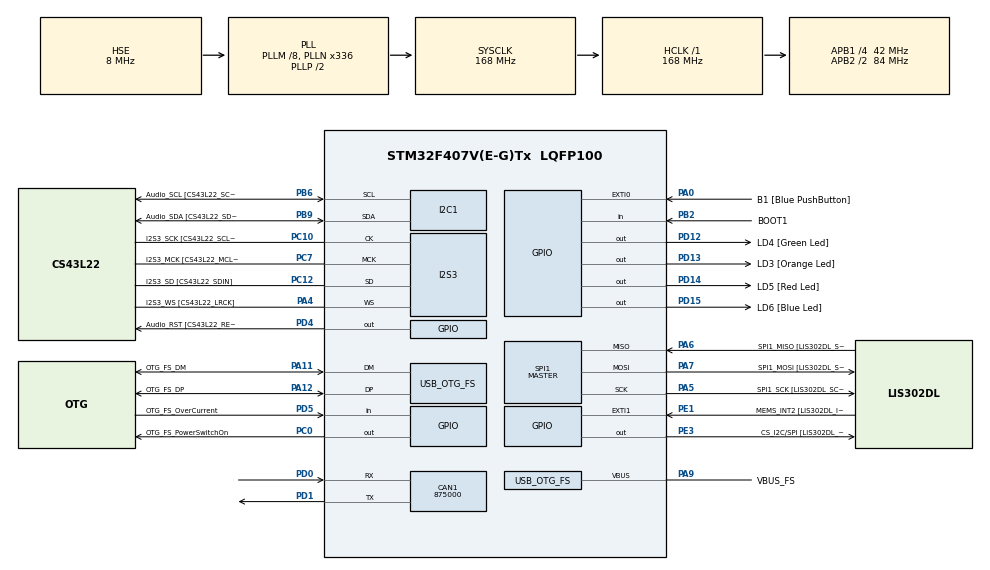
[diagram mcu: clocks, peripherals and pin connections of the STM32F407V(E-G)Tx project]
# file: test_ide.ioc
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CAN1.CalculateBaudRate=875000
CAN1.CalculateTimeBit=1142
CAN1.CalculateTimeQuantum=380.95238095238096
FREERTOS.INCLUDE_vTaskDelayUntil=1
FREERTOS.Queues01=myQueue01,16,uint16_t,0,Dynamic,NULL,NULL
FREERTOS.Tasks01=defaultTask,0,128,StartDefaultTask,Default,NULL,Dynamic,NULL,NULL;testTask,0,128,StartTask02,Default,NULL,Dynamic,NULL,NULL
FREERTOS.configMAX_PRIORITIES=20
FREERTOS.configUSE_NEWLIB_REENTRANT=1
I2S3.AudioFreq-Half_Duplex_Master=I2S_AUDIOFREQ_96K
I2S3.ErrorAudioFreq=-2.34 %
I2S3.ErrorAudioFreq-Half_Duplex_Master=0.8 %
I2S3.FullDuplexMode=I2S_FULLDUPLEXMODE_DISABLE
I2S3.Instance=SPI$Index
I2S3.RealAudioFreq=93.75 KHz
I2S3.RealAudioFreq-Half_Duplex_Master=96.774 KHz
I2S3.VirtualMode=I2S_MODE_MASTER
Mcu.Family=STM32F4
Mcu.Name=STM32F407V(E-G)Tx
Mcu.Package=LQFP100
NVIC.CAN1_RX0_IRQn=true\:5\:0\:false\:false\:true\:true\:true\:true\:true
NVIC.CAN1_RX1_IRQn=true\:5\:0\:false\:false\:true\:true\:true\:true\:true
NVIC.CAN1_SCE_IRQn=true\:5\:0\:false\:false\:true\:true\:true\:true\:true
NVIC.CAN1_TX_IRQn=true\:5\:0\:false\:false\:true\:true\:true\:true\:true
NVIC.OTG_FS_IRQn=true\:5\:0\:false\:false\:true\:true\:true\:true\:true
NVIC.PriorityGroup=NVIC_PRIORITYGROUP_4
NVIC.TIM1_UP_TIM10_IRQn=true\:15\:0\:false\:false\:true\:false\:false\:true\:true
NVIC.TimeBase=TIM1_UP_TIM10_IRQn
NVIC.TimeBaseIP=TIM1
PA0-WKUP.GPIO_Label=B1 [Blue PushButton]
PA0-WKUP.GPIO_ModeDefaultEXTI=GPIO_MODE_EVT_RISING
PA0-WKUP.GPIO_PuPd=GPIO_NOPULL
PA0-WKUP.Signal=GPXTI0
PA10.GPIO_Label=OTG_FS_ID
PA10.GPIO_Mode=GPIO_MODE_AF_PP
PA10.GPIO_PuPd=GPIO_NOPULL
PA10.GPIO_Speed=GPIO_SPEED_FREQ_LOW
PA10.Signal=USB_OTG_FS_ID
PA11.GPIO_Label=OTG_FS_DM
PA11.GPIO_Mode=GPIO_MODE_AF_PP
PA11.GPIO_PuPd=GPIO_NOPULL
PA11.GPIO_Speed=GPIO_SPEED_FREQ_LOW
PA11.Mode=Host_Only
PA11.Signal=USB_OTG_FS_DM
PA12.GPIO_Label=OTG_FS_DP
PA12.GPIO_Mode=GPIO_MODE_AF_PP
PA12.GPIO_PuPd=GPIO_NOPULL
PA12.GPIO_Speed=GPIO_SPEED_FREQ_LOW
PA12.Mode=Host_Only
PA12.Signal=USB_OTG_FS_DP
PA13.GPIO_Label=SWDIO
PA13.Mode=Serial_Wire
PA13.Signal=SYS_JTMS-SWDIO
PA14.GPIO_Label=SWCLK
PA14.Mode=Serial_Wire
PA14.Signal=SYS_JTCK-SWCLK
PA4.GPIO_Label=I2S3_WS [CS43L22_LRCK]
PA4.GPIO_Mode=GPIO_MODE_AF_PP
PA4.GPIO_PuPd=GPIO_NOPULL
PA4.GPIO_Speed=GPIO_SPEED_FREQ_LOW
PA4.Mode=Half_Duplex_Master
PA4.Signal=I2S3_WS
PA5.GPIO_Label=SPI1_SCK [LIS302DL_SCL/SPC]
PA5.GPIO_Mode=GPIO_MODE_AF_PP
PA5.GPIO_PuPd=GPIO_NOPULL
PA5.GPIO_Speed=GPIO_SPEED_FREQ_LOW
PA5.Mode=Full_Duplex_Master
PA5.Signal=SPI1_SCK
PA6.GPIO_Label=SPI1_MISO [LIS302DL_SDO]
PA6.GPIO_Mode=GPIO_MODE_AF_PP
PA6.GPIO_PuPd=GPIO_NOPULL
PA6.GPIO_Speed=GPIO_SPEED_FREQ_LOW
PA6.Mode=Full_Duplex_Master
PA6.Signal=SPI1_MISO
PA7.GPIO_Label=SPI1_MOSI [LIS302DL_SDA/SDI/SDO]
PA7.GPIO_Mode=GPIO_MODE_AF_PP
PA7.GPIO_PuPd=GPIO_NOPULL
PA7.GPIO_Speed=GPIO_SPEED_FREQ_LOW
PA7.Mode=Full_Duplex_Master
PA7.Signal=SPI1_MOSI
PA9.GPIO_Label=VBUS_FS
PA9.GPIO_Mode=GPIO_MODE_INPUT
PA9.GPIO_PuPd=GPIO_NOPULL
PA9.Mode=Activate_VBUS
PA9.Signal=USB_OTG_FS_VBUS
PB10.GPIO_Label=CLK_IN [MP45DT02_CLK]
PB10.GPIO_Mode=GPIO_MODE_AF_PP
PB10.GPIO_PuPd=GPIO_NOPULL
PB10.GPIO_Speed=GPIO_SPEED_FREQ_LOW
PB10.Signal=I2S2_CK
PB2.GPIO_Label=BOOT1
PB2.GPIO_Mode=GPIO_MODE_INPUT
PB2.GPIO_PuPd=GPIO_NOPULL
PB2.Signal=GPIO_Input
PB3.GPIO_Label=SWO
PB3.Signal=SYS_JTDO-SWO
PB6.GPIO_Label=Audio_SCL [CS43L22_SCL]
PB6.GPIO_Mode=GPIO_MODE_AF_OD
PB6.GPIO_Pu=GPIO_PULLUP
PB6.GPIO_PuPd=GPIO_NOPULL
PB6.GPIO_Speed=GPIO_SPEED_FREQ_LOW
PB6.Mode=I2C
PB6.Signal=I2C1_SCL
PB9.GPIO_Label=Audio_SDA [CS43L22_SDA]
PB9.GPIO_Mode=GPIO_MODE_AF_OD
PB9.GPIO_Pu=GPIO_PULLUP
PB9.GPIO_PuPd=GPIO_NOPULL
PB9.GPIO_Speed=GPIO_SPEED_FREQ_LOW
PB9.Mode=I2C
PB9.Signal=I2C1_SDA
PC0.GPIO_Label=OTG_FS_PowerSwitchOn
PC0.GPIO_PuPd=GPIO_NOPULL
PC0.GPIO_Speed=GPIO_SPEED_FREQ_LOW
PC0.PinState=GPIO_PIN_SET
PC0.Signal=GPIO_Output
PC10.GPIO_Label=I2S3_SCK [CS43L22_SCLK]
PC10.GPIO_Mode=GPIO_MODE_AF_PP
PC10.GPIO_PuPd=GPIO_NOPULL
PC10.GPIO_Speed=GPIO_SPEED_FREQ_LOW
PC10.Mode=Half_Duplex_Master
PC10.Signal=I2S3_CK
PC12.GPIO_Label=I2S3_SD [CS43L22_SDIN]
PC12.GPIO_Mode=GPIO_MODE_AF_PP
PC12.GPIO_PuPd=GPIO_NOPULL
PC12.GPIO_Speed=GPIO_SPEED_FREQ_LOW
PC12.Mode=Half_Duplex_Master
PC12.Signal=I2S3_SD
PC14-OSC32_IN.GPIO_Label=PC14-OSC32_IN
PC14-OSC32_IN.Mode=LSE-External-Oscillator
PC14-OSC32_IN.Signal=RCC_OSC32_IN
PC15-OSC32_OUT.GPIO_Label=PC15-OSC32_OUT
PC15-OSC32_OUT.Mode=LSE-External-Oscillator
PC15-OSC32_OUT.Signal=RCC_OSC32_OUT
PC3.GPIO_Label=PDM_OUT [MP45DT02_DOUT]
PC3.GPIO_Mode=GPIO_MODE_AF_PP
PC3.GPIO_PuPd=GPIO_NOPULL
PC3.GPIO_Speed=GPIO_SPEED_FREQ_LOW
PC3.Signal=I2S2_SD
PC7.GPIO_Label=I2S3_MCK [CS43L22_MCLK]
PC7.GPIO_Mode=GPIO_MODE_AF_PP
PC7.GPIO_PuPd=GPIO_NOPULL
PC7.GPIO_Speed=GPIO_SPEED_FREQ_LOW
PC7.Mode=Master_Clock_Activated
PC7.Signal=I2S3_MCK
PD0.Mode=CAN_Activate
PD0.Signal=CAN1_RX
PD1.Mode=CAN_Activate
PD1.Signal=CAN1_TX
PD12.GPIO_Label=LD4 [Green Led]
PD12.GPIO_PuPd=GPIO_NOPULL
PD12.GPIO_Speed=GPIO_SPEED_FREQ_LOW
PD12.Signal=GPIO_Output
PD13.GPIO_Label=LD3 [Orange Led]
PD13.GPIO_PuPd=GPIO_NOPULL
PD13.GPIO_Speed=GPIO_SPEED_FREQ_LOW
PD13.Signal=GPIO_Output
PD14.GPIO_Label=LD5 [Red Led]
PD14.GPIO_PuPd=GPIO_NOPULL
PD14.GPIO_Speed=GPIO_SPEED_FREQ_LOW
PD14.Signal=GPIO_Output
PD15.GPIO_Label=LD6 [Blue Led]
PD15.GPIO_PuPd=GPIO_NOPULL
PD15.GPIO_Speed=GPIO_SPEED_FREQ_LOW
PD15.Signal=GPIO_Output
PD4.GPIO_Label=Audio_RST [CS43L22_RESET]
PD4.GPIO_PuPd=GPIO_NOPULL
PD4.GPIO_Speed=GPIO_SPEED_FREQ_LOW
PD4.Signal=GPIO_Output
PD5.GPIO_Label=OTG_FS_OverCurrent
PD5.GPIO_Mode=GPIO_MODE_INPUT
PD5.GPIO_PuPd=GPIO_NOPULL
PD5.Signal=GPIO_Input
PE1.GPIO_Label=MEMS_INT2 [LIS302DL_INT2]
PE1.GPIO_ModeDefaultEXTI=GPIO_MODE_EVT_RISING
PE1.GPIO_PuPd=GPIO_NOPULL
PE1.Signal=GPXTI1
PE3.GPIO_Label=CS_I2C/SPI [LIS302DL_CS_I2C/SPI]
PE3.GPIO_PuPd=GPIO_NOPULL
PE3.GPIO_Speed=GPIO_SPEED_FREQ_LOW
PE3.Signal=GPIO_Output
PH0-OSC_IN.GPIO_Label=PH0-OSC_IN
PH0-OSC_IN.Mode=HSE-External-Oscillator
PH0-OSC_IN.Signal=RCC_OSC_IN
PH1-OSC_OUT.GPIO_Label=PH1-OSC_OUT
PH1-OSC_OUT.Mode=HSE-External-Oscillator
PH1-OSC_OUT.Signal=RCC_OSC_OUT
ProjectManager.HeapSize=0x200
ProjectManager.StackSize=0x400
ProjectManager.TargetToolchain=STM32CubeIDE
RCC.48MHZClocksFreq_Value=48000000
RCC.AHBFreq_Value=168000000
RCC.APB1CLKDivider=RCC_HCLK_DIV4
RCC.APB1Freq_Value=42000000
RCC.APB1TimFreq_Value=84000000
RCC.APB2CLKDivider=RCC_HCLK_DIV2
RCC.APB2Freq_Value=84000000
RCC.APB2TimFreq_Value=168000000
RCC.CortexFreq_Value=168000000
RCC.HCLKFreq_Value=168000000
RCC.HSE_VALUE=8000000
RCC.HSI_VALUE=16000000
RCC.PLLM=8
RCC.PLLN=336
RCC.PLLQ=7
RCC.SYSCLKFreq_VALUE=168000000
RCC.SYSCLKSource=RCC_SYSCLKSOURCE_PLLCLK
RCC.VCOOutputFreq_Value=336000000
SPI1.BaudRatePrescaler-Full_Duplex_Master=SPI_BAUDRATEPRESCALER_2
SPI1.CalculateBaudRate-Full_Duplex_Master=42.0 MBits/s
SPI1.Direction=SPI_DIRECTION_2LINES
SPI1.Mode=SPI_MODE_MASTER
SPI1.Mode-Full_Duplex_Master=SPI_MODE_MASTER
SPI1.VirtualType=VM_MASTER
USB_HOST.BSP.number=1
USB_HOST.USBH_HandleTypeDef-CDC_FS=hUsbHostFS
USB_HOST.USBH_USE_OS-CDC_FS=0
USB_HOST.VirtualModeFS=Cdc
USB_HOST0.BSP.STBoard=false
USB_HOST0.BSP.api=Unknown
USB_HOST0.BSP.instance=PC0
USB_HOST0.BSP.ip=GPIO
USB_HOST0.BSP.mode=Output
USB_HOST0.BSP.name=Drive_VBUS_FS
USB_HOST0.BSP.solution=PC0
USB_OTG_FS.VirtualMode=Host_Only
USB_OTG_FS.phy_itface=HCD_PHY_EMBEDDED
VP_FREERTOS_VS_CMSIS_V1.Mode=CMSIS_V1
VP_SYS_VS_tim1.Mode=TIM1
VP_USB_HOST_VS_USB_HOST_CDC_FS.Mode=CDC_FS
board=STM32F407G-DISC1

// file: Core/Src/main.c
/* USER CODE BEGIN Header */
/**
 ******************************************************************************
 * @file           : main.c
 * @brief          : Main program body
 ******************************************************************************
 * @attention
 *
 * Copyright (c) 2026 STMicroelectronics.
 * All rights reserved.
 *
 * This software is licensed under terms that can be found in the LICENSE file
 * in the root directory of this software component.
 * If no LICENSE file comes with this software, it is provided AS-IS.
 *
 ******************************************************************************
 */
/* USER CODE END Header */
#include "main.h"
#include "cmsis_os.h"
#include "usb_host.h"

/* USER CODE BEGIN Includes */

#include "stdio.h"
#include "TaskCanRX.h"
#include "VCU.h"

/* USER CODE END Includes */

CAN_HandleTypeDef hcan1;

I2C_HandleTypeDef hi2c1;

I2S_HandleTypeDef hi2s3;

SPI_HandleTypeDef hspi1;

osThreadId defaultTaskHandle;
osThreadId testTaskHandle;
osMessageQId myQueue01Handle;

void SystemClock_Config(void);
static void MX_GPIO_Init(void);
static void MX_I2C1_Init(void);
static void MX_I2S3_Init(void);
static void MX_SPI1_Init(void);
static void MX_CAN1_Init(void);
void StartDefaultTask(void const *argument);
void StartTask02(void const *argument);

/* USER CODE BEGIN 0 */

uint8_t ubKeyNumber = 0x0;
// CAN_HandleTypeDef hcan1;
CAN_TxHeaderTypeDef TxHeader;
CAN_RxHeaderTypeDef RxHeader;
uint8_t TxData[8];
uint8_t RxData[8];
uint32_t TxMailbox;

void TaskSendTXMessages(void *pvParameters)
{
  TxData[0] = 0x3;
  TxData[1] = 0xAD;

  /* Start the Transmission process */
  if (HAL_CAN_AddTxMessage(&hcan1, &TxHeader, TxData, &TxMailbox) != HAL_OK)
  {
    /* Transmission request Error */
    Error_Handler();
  }
  printf("Message sent\n");
  vTaskDelay(500);
}

/* USER CODE END 0 */

int main(void)
{

  /* MCU Configuration--------------------------------------------------------*/

  /* Reset of all peripherals, Initializes the Flash interface and the Systick. */
  HAL_Init();

  /* Configure the system clock */
  SystemClock_Config();

  /* Initialize all configured peripherals */
  MX_GPIO_Init();
  MX_I2C1_Init();
  MX_I2S3_Init();
  MX_SPI1_Init();
  MX_CAN1_Init();

  /* Create the queue(s) */
  /* definition and creation of myQueue01 */
  // osMessageQDef(myQueue01, 16, uint16_t);
  // myQueue01Handle = osMessageCreate(osMessageQ(myQueue01), NULL);

  /* Create the thread(s) */
  /* definition and creation of defaultTask */
  // osThreadDef(defaultTask, StartDefaultTask, osPriorityNormal, 0, 128);
  // defaultTaskHandle = osThreadCreate(osThread(defaultTask), NULL);

  /* definition and creation of testTask */
  // osThreadDef(testTask, StartTask02, osPriorityNormal, 0, 128);
  // testTaskHandle = osThreadCreate(osThread(testTask), NULL);

  /* USER CODE BEGIN RTOS_THREADS */
  /* add threads, ... */
  xTaskCreate(
      TaskSendTXMessages,
      "CAN_TX",
      configMINIMAL_STACK_SIZE,
      NULL,
      1U,
      NULL);

  MainApp();

  /* USER CODE END RTOS_THREADS */

  /* Start scheduler */
  osKernelStart();

  /* We should never get here as control is now taken by the scheduler */

  /* Infinite loop */
  while (1)
  {

    /* USER CODE BEGIN 3 */
    printf("HELLO WORLD\r\n");
    // HAL_Delay(500);
  }
  /* USER CODE END 3 */
}

void SystemClock_Config(void)
{
  RCC_OscInitTypeDef RCC_OscInitStruct = {0};
  RCC_ClkInitTypeDef RCC_ClkInitStruct = {0};

  /** Configure the main internal regulator output voltage
   */
  __HAL_RCC_PWR_CLK_ENABLE();
  __HAL_PWR_VOLTAGESCALING_CONFIG(PWR_REGULATOR_VOLTAGE_SCALE1);

  /** Initializes the RCC Oscillators according to the specified parameters
   * in the RCC_OscInitTypeDef structure.
   */
  RCC_OscInitStruct.OscillatorType = RCC_OSCILLATORTYPE_HSE;
  RCC_OscInitStruct.HSEState = RCC_HSE_ON;
  RCC_OscInitStruct.PLL.PLLState = RCC_PLL_ON;
  RCC_OscInitStruct.PLL.PLLSource = RCC_PLLSOURCE_HSE;
  RCC_OscInitStruct.PLL.PLLM = 8;
  RCC_OscInitStruct.PLL.PLLN = 336;
  RCC_OscInitStruct.PLL.PLLP = RCC_PLLP_DIV2;
  RCC_OscInitStruct.PLL.PLLQ = 7;
  if (HAL_RCC_OscConfig(&RCC_OscInitStruct) != HAL_OK)
  {
    Error_Handler();
  }

  /** Initializes the CPU, AHB and APB buses clocks
   */
  RCC_ClkInitStruct.ClockType = RCC_CLOCKTYPE_HCLK | RCC_CLOCKTYPE_SYSCLK | RCC_CLOCKTYPE_PCLK1 | RCC_CLOCKTYPE_PCLK2;
  RCC_ClkInitStruct.SYSCLKSource = RCC_SYSCLKSOURCE_PLLCLK;
  RCC_ClkInitStruct.AHBCLKDivider = RCC_SYSCLK_DIV1;
  RCC_ClkInitStruct.APB1CLKDivider = RCC_HCLK_DIV4;
  RCC_ClkInitStruct.APB2CLKDivider = RCC_HCLK_DIV2;

  if (HAL_RCC_ClockConfig(&RCC_ClkInitStruct, FLASH_LATENCY_5) != HAL_OK)
  {
    Error_Handler();
  }
}

static void MX_CAN1_Init(void)
{

  /* USER CODE BEGIN CAN1_Init 1 */
  CAN_FilterTypeDef sFilterConfig;

  /* USER CODE END CAN1_Init 1 */
  hcan1.Instance = CAN1;
  hcan1.Init.Prescaler = 6;
  hcan1.Init.Mode = CAN_MODE_LOOPBACK;
  hcan1.Init.SyncJumpWidth = CAN_SJW_1TQ;
  hcan1.Init.TimeSeg1 = CAN_BS1_11TQ;
  hcan1.Init.TimeSeg2 = CAN_BS2_2TQ;
  hcan1.Init.TimeTriggeredMode = DISABLE;
  hcan1.Init.AutoBusOff = DISABLE;
  hcan1.Init.AutoWakeUp = DISABLE;
  hcan1.Init.AutoRetransmission = DISABLE;
  hcan1.Init.ReceiveFifoLocked = DISABLE;
  hcan1.Init.TransmitFifoPriority = DISABLE;
  if (HAL_CAN_Init(&hcan1) != HAL_OK)
  {
    Error_Handler();
  }
  HAL_CAN_MspInit(&hcan1);

  /* USER CODE BEGIN CAN1_Init 2 */

  /*##-2- Configure the CAN Filter ###########################################*/
  sFilterConfig.FilterBank = 0;
  sFilterConfig.FilterMode = CAN_FILTERMODE_IDMASK;
  sFilterConfig.FilterScale = CAN_FILTERSCALE_32BIT;
  sFilterConfig.FilterIdHigh = 0x0000;
  sFilterConfig.FilterIdLow = 0x0000;
  sFilterConfig.FilterMaskIdHigh = 0x0000;
  sFilterConfig.FilterMaskIdLow = 0x0000;
  sFilterConfig.FilterFIFOAssignment = CAN_RX_FIFO0;
  sFilterConfig.FilterActivation = ENABLE;
  sFilterConfig.SlaveStartFilterBank = 14;

  if (HAL_CAN_ConfigFilter(&hcan1, &sFilterConfig) != HAL_OK)
  {

    Error_Handler();
  }

  /*##-3- Start the CAN peripheral ###########################################*/

  if (HAL_CAN_Start(&hcan1) != HAL_OK)
  {
    /* Start Error */
    uint32_t err = HAL_CAN_GetError(&hcan1);
    printf("CAN start error: %lu\n", err);
    Error_Handler();
    Error_Handler();
  }

  /*##-4- Activate CAN RX notification #######################################*/
  if (HAL_CAN_ActivateNotification(&hcan1, CAN_IT_RX_FIFO0_MSG_PENDING) != HAL_OK)
  {
    /* Notification Error */
    Error_Handler();
  }

  if (HAL_CAN_ActivateNotification(&hcan1, CAN_IT_RX_FIFO1_MSG_PENDING) != HAL_OK)
  {
    /* Notification Error */
    Error_Handler();
  }

  /*##-5- Configure Transmission process #####################################*/
  TxHeader.StdId = 0x321;
  TxHeader.ExtId = 0x01;
  TxHeader.RTR = CAN_RTR_DATA;
  TxHeader.IDE = CAN_ID_STD;
  TxHeader.DLC = 2;
  TxHeader.TransmitGlobalTime = DISABLE;

  /* USER CODE END CAN1_Init 2 */
}

static void MX_I2C1_Init(void)
{

  hi2c1.Instance = I2C1;
  hi2c1.Init.ClockSpeed = 100000;
  hi2c1.Init.DutyCycle = I2C_DUTYCYCLE_2;
  hi2c1.Init.OwnAddress1 = 0;
  hi2c1.Init.AddressingMode = I2C_ADDRESSINGMODE_7BIT;
  hi2c1.Init.DualAddressMode = I2C_DUALADDRESS_DISABLE;
  hi2c1.Init.OwnAddress2 = 0;
  hi2c1.Init.GeneralCallMode = I2C_GENERALCALL_DISABLE;
  hi2c1.Init.NoStretchMode = I2C_NOSTRETCH_DISABLE;
  if (HAL_I2C_Init(&hi2c1) != HAL_OK)
  {
    Error_Handler();
  }
}

static void MX_I2S3_Init(void)
{

  hi2s3.Instance = SPI3;
  hi2s3.Init.Mode = I2S_MODE_MASTER_TX;
  hi2s3.Init.Standard = I2S_STANDARD_PHILIPS;
  hi2s3.Init.DataFormat = I2S_DATAFORMAT_16B;
  hi2s3.Init.MCLKOutput = I2S_MCLKOUTPUT_ENABLE;
  hi2s3.Init.AudioFreq = I2S_AUDIOFREQ_96K;
  hi2s3.Init.CPOL = I2S_CPOL_LOW;
  hi2s3.Init.ClockSource = I2S_CLOCK_PLL;
  hi2s3.Init.FullDuplexMode = I2S_FULLDUPLEXMODE_DISABLE;
  if (HAL_I2S_Init(&hi2s3) != HAL_OK)
  {
    Error_Handler();
  }
}

static void MX_SPI1_Init(void)
{

  /* SPI1 parameter configuration*/
  hspi1.Instance = SPI1;
  hspi1.Init.Mode = SPI_MODE_MASTER;
  hspi1.Init.Direction = SPI_DIRECTION_2LINES;
  hspi1.Init.DataSize = SPI_DATASIZE_8BIT;
  hspi1.Init.CLKPolarity = SPI_POLARITY_LOW;
  hspi1.Init.CLKPhase = SPI_PHASE_1EDGE;
  hspi1.Init.NSS = SPI_NSS_SOFT;
  hspi1.Init.BaudRatePrescaler = SPI_BAUDRATEPRESCALER_2;
  hspi1.Init.FirstBit = SPI_FIRSTBIT_MSB;
  hspi1.Init.TIMode = SPI_TIMODE_DISABLE;
  hspi1.Init.CRCCalculation = SPI_CRCCALCULATION_DISABLE;
  hspi1.Init.CRCPolynomial = 10;
  if (HAL_SPI_Init(&hspi1) != HAL_OK)
  {
    Error_Handler();
  }
}

static void MX_GPIO_Init(void)
{
  GPIO_InitTypeDef GPIO_InitStruct = {0};

  /* GPIO Ports Clock Enable */
  __HAL_RCC_GPIOE_CLK_ENABLE();
  __HAL_RCC_GPIOC_CLK_ENABLE();
  __HAL_RCC_GPIOH_CLK_ENABLE();
  __HAL_RCC_GPIOA_CLK_ENABLE();
  __HAL_RCC_GPIOB_CLK_ENABLE();
  __HAL_RCC_GPIOD_CLK_ENABLE();

  /*Configure GPIO pin Output Level */
  HAL_GPIO_WritePin(CS_I2C_SPI_GPIO_Port, CS_I2C_SPI_Pin, GPIO_PIN_RESET);

  /*Configure GPIO pin Output Level */
  HAL_GPIO_WritePin(OTG_FS_PowerSwitchOn_GPIO_Port, OTG_FS_PowerSwitchOn_Pin, GPIO_PIN_SET);

  /*Configure GPIO pin Output Level */
  HAL_GPIO_WritePin(GPIOD, LD4_Pin | LD3_Pin | LD5_Pin | LD6_Pin | Audio_RST_Pin, GPIO_PIN_RESET);

  /*Configure GPIO pin : CS_I2C_SPI_Pin */
  GPIO_InitStruct.Pin = CS_I2C_SPI_Pin;
  GPIO_InitStruct.Mode = GPIO_MODE_OUTPUT_PP;
  GPIO_InitStruct.Pull = GPIO_NOPULL;
  GPIO_InitStruct.Speed = GPIO_SPEED_FREQ_LOW;
  HAL_GPIO_Init(CS_I2C_SPI_GPIO_Port, &GPIO_InitStruct);

  /*Configure GPIO pin : OTG_FS_PowerSwitchOn_Pin */
  GPIO_InitStruct.Pin = OTG_FS_PowerSwitchOn_Pin;
  GPIO_InitStruct.Mode = GPIO_MODE_OUTPUT_PP;
  GPIO_InitStruct.Pull = GPIO_NOPULL;
  GPIO_InitStruct.Speed = GPIO_SPEED_FREQ_LOW;
  HAL_GPIO_Init(OTG_FS_PowerSwitchOn_GPIO_Port, &GPIO_InitStruct);

  /*Configure GPIO pin : PDM_OUT_Pin */
  GPIO_InitStruct.Pin = PDM_OUT_Pin;
  GPIO_InitStruct.Mode = GPIO_MODE_AF_PP;
  GPIO_InitStruct.Pull = GPIO_NOPULL;
  GPIO_InitStruct.Speed = GPIO_SPEED_FREQ_LOW;
  GPIO_InitStruct.Alternate = GPIO_AF5_SPI2;
  HAL_GPIO_Init(PDM_OUT_GPIO_Port, &GPIO_InitStruct);

  /*Configure GPIO pin : B1_Pin */
  GPIO_InitStruct.Pin = B1_Pin;
  GPIO_InitStruct.Mode = GPIO_MODE_EVT_RISING;
  GPIO_InitStruct.Pull = GPIO_NOPULL;
  HAL_GPIO_Init(B1_GPIO_Port, &GPIO_InitStruct);

  /*Configure GPIO pin : BOOT1_Pin */
  GPIO_InitStruct.Pin = BOOT1_Pin;
  GPIO_InitStruct.Mode = GPIO_MODE_INPUT;
  GPIO_InitStruct.Pull = GPIO_NOPULL;
  HAL_GPIO_Init(BOOT1_GPIO_Port, &GPIO_InitStruct);

  /*Configure GPIO pin : CLK_IN_Pin */
  GPIO_InitStruct.Pin = CLK_IN_Pin;
  GPIO_InitStruct.Mode = GPIO_MODE_AF_PP;
  GPIO_InitStruct.Pull = GPIO_NOPULL;
  GPIO_InitStruct.Speed = GPIO_SPEED_FREQ_LOW;
  GPIO_InitStruct.Alternate = GPIO_AF5_SPI2;
  HAL_GPIO_Init(CLK_IN_GPIO_Port, &GPIO_InitStruct);

  /*Configure GPIO pins : LD4_Pin LD3_Pin LD5_Pin LD6_Pin
                           Audio_RST_Pin */
  GPIO_InitStruct.Pin = LD4_Pin | LD3_Pin | LD5_Pin | LD6_Pin | Audio_RST_Pin;
  GPIO_InitStruct.Mode = GPIO_MODE_OUTPUT_PP;
  GPIO_InitStruct.Pull = GPIO_NOPULL;
  GPIO_InitStruct.Speed = GPIO_SPEED_FREQ_LOW;
  HAL_GPIO_Init(GPIOD, &GPIO_InitStruct);

  /*Configure GPIO pin : OTG_FS_OverCurrent_Pin */
  GPIO_InitStruct.Pin = OTG_FS_OverCurrent_Pin;
  GPIO_InitStruct.Mode = GPIO_MODE_INPUT;
  GPIO_InitStruct.Pull = GPIO_NOPULL;
  HAL_GPIO_Init(OTG_FS_OverCurrent_GPIO_Port, &GPIO_InitStruct);

  /*Configure GPIO pin : MEMS_INT2_Pin */
  GPIO_InitStruct.Pin = MEMS_INT2_Pin;
  GPIO_InitStruct.Mode = GPIO_MODE_EVT_RISING;
  GPIO_InitStruct.Pull = GPIO_NOPULL;
  HAL_GPIO_Init(MEMS_INT2_GPIO_Port, &GPIO_InitStruct);

}

/* USER CODE BEGIN 4 */
void GetNextCANMessage(dataCan *msg, int can, int fifo)
{
  CAN_RxHeaderTypeDef RxHeader;
  uint8_t RxData[8];
  if (HAL_CAN_GetRxMessage(&hcan1, CAN_RX_FIFO0, &RxHeader, RxData) != HAL_OK)
  {
    /* Reception Error */
    Error_Handler();
  }
  msg->id = RxHeader.StdId;
  msg->data = (RxData[0] << 24) | (RxData[1] << 16) | (RxData[2] << 8) | RxData[3];
}

int _write(int file, char *ptr, int len)
{
  (void)file;
  int DataIdx;

  for (DataIdx = 0; DataIdx < len; DataIdx++)
  {
    ITM_SendChar(*ptr++);
  }
  return len;
}

/* USER CODE END 4 */

void StartDefaultTask(void const *argument)
{
  /* init code for USB_HOST */
  MX_USB_HOST_Init();
  /* USER CODE BEGIN 5 */
  TickType_t lastWakeUp = xTaskGetTickCount();

  /* Infinite loop */
  for (;;)
  {
    printf("DEFAULT TASK\r\n");
    vTaskDelayUntil(&lastWakeUp, pdMS_TO_TICKS(150));
  }
  /* USER CODE END 5 */
}

void StartTask02(void const *argument)
{
  /* USER CODE BEGIN StartTask02 */
  TickType_t lastWakeUp = xTaskGetTickCount();

  /* Infinite loop */
  for (;;)
  {
    printf("TEST TASK\r\n");
    vTaskDelayUntil(&lastWakeUp, pdMS_TO_TICKS(150));
  }
  /* USER CODE END StartTask02 */
}

void HAL_TIM_PeriodElapsedCallback(TIM_HandleTypeDef *htim)
{
  if (htim->Instance == TIM1)
  {
    HAL_IncTick();
  }
}

void Error_Handler(void)
{
  __disable_irq();
  while (1)
  {
  }
}
